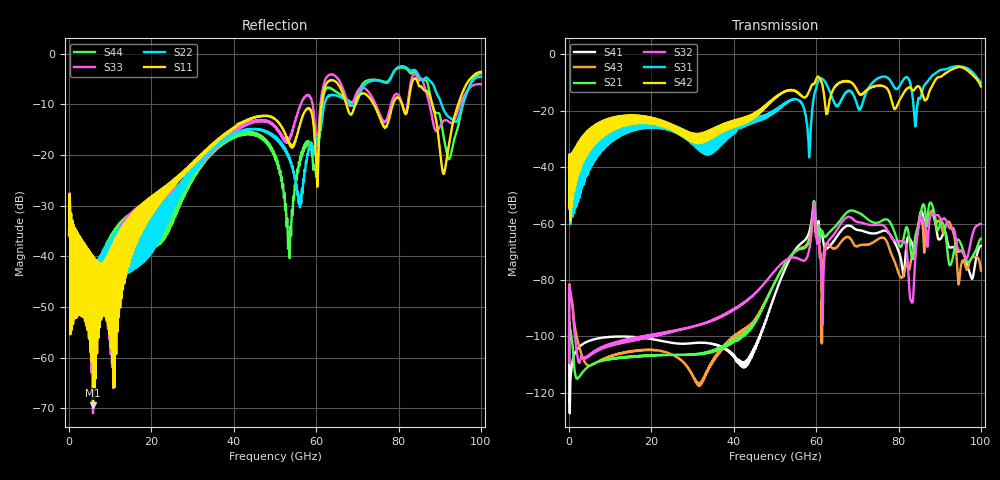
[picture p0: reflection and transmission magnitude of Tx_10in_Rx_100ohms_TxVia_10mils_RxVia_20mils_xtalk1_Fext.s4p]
! Info: Touchstone file created by Circ.  Input file=Tx_10in_Rx_100ohms_TxVia_10mils_RxVia_20mils.circ
# Hz S RI R 50
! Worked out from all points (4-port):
!   10000 points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, 10 MHz to 100 GHz, reference 50 ohm
!   strongest paths, dB at 10 MHz, 25.01 GHz, 50.01 GHz, 75.01 GHz, 100 GHz:
!     S42: -54.2, -25.4, -15.5, -11.2, -11.3
!     S31: -54.8, -25.7, -20.3, -8.5, -10.1
!     S32: -109.4, -98.1, -76.6, -60.4, -60.1
!     S21: -99.3, -106.6, -80.8, -59.7, -65.4
!     S43: -105.5, -106.5, -80.7, -65.6, -76.7
!     S41: -96.7, -102.3, -85.0, -63.2, -67.9
!   lowest |S11| = -69.4 dB at 5.81 GHz (marker M1), VSWR 1.00, Z = 50 - j0.0264 ohm
!   |S11| at or under -10 dB: start of sweep to 61.28 GHz; 74 GHz to 78.63 GHz (4.635 GHz wide, 6.07 % of centre); 88.17 GHz to 94.51 GHz (6.334 GHz wide, 6.93 % of centre)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
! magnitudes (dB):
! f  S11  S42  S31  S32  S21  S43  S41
! 10 MHz  -35.8  -54.2  -54.8  -109.4  -99.3  -105.5  -96.7
! 5.81 GHz  -69.4  -27.9  -29.1  -105.8  -109.8  -109.9  -101.2
! 50.95 GHz  -13.7  -14.5  -19.5  -75.1  -78.1  -78.2  -81.5
! 59.3 GHz  -13.8  -10.7  -16.5  -56.0  -54.7  -55.0  -53.6
! 82.99 GHz  -6.7  -12.0  -11.1  -87.1  -70.0  -73.5  -66.0
! 85.49 GHz  -6.5  -12.8  -14.5  -57.3  -55.5  -57.6  -55.6
! 100 GHz  -3.6  -11.3  -10.1  -60.1  -65.4  -76.7  -67.9
